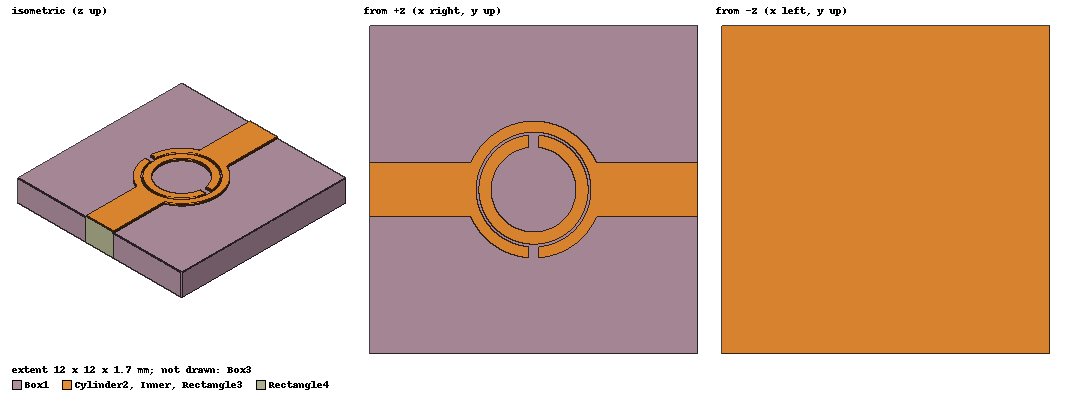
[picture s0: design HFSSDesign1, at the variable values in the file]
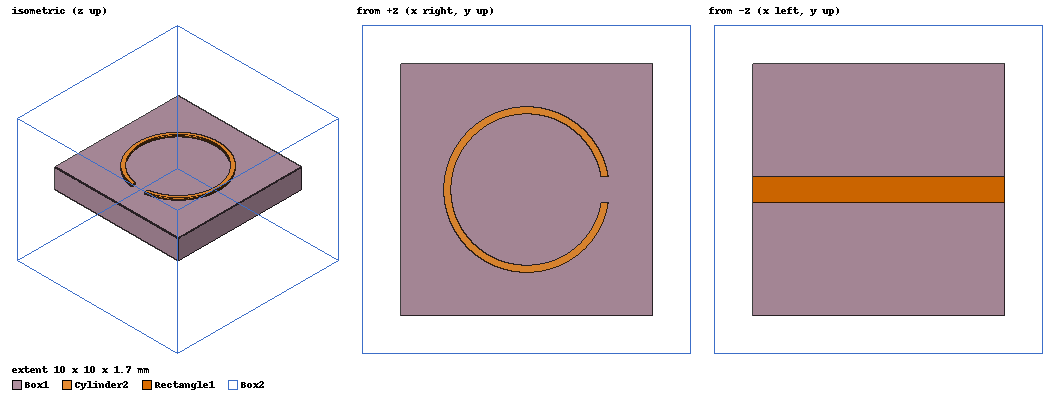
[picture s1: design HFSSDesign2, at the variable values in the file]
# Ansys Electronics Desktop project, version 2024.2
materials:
  vacuum: permittivity=1
  FR4_epoxy: permittivity=4.4 dielectric_loss_tangent=0.02
  copper: permeability=0.999991 conductivity=58000000
  air: permittivity=1.0006 permeability=1.0000004

design HFSSDesign1 (HFSS, HFSS Terminal Network, model units mm)
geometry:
  Box1 [FR4_epoxy] = box(corner=(0mm, 0mm, 0mm), size=(12mm, 12mm, 1.6mm))
  Cylinder1 = cylinder(axis=Z, base_centre=(6mm, 6mm, 1.6mm), radius=2.1mm, height=0.1mm)
  Cylinder2 [copper] = cylinder(axis=Z, base_centre=(6mm, 6mm, 1.6mm), radius=2.5mm, height=0.1mm)
  Slit = box(corner=(5.8mm, 1.5mm, 1.6mm), size=(0.4mm, 4mm, 0.1mm))
  Box2 = box(corner=(0mm, 5mm, 1.6mm), size=(12mm, 2mm, 0.1mm))
  Box3 [air] = box(corner=(-1mm, -1mm, -5mm), size=(15mm, 15mm, 9.5mm))
  Rectangle3 = rectangle(corner=(0mm, 0mm, 0mm), x_size=12mm, y_size=12mm)
  Cylinder2.subtract(Cylinder1)
  Box4 = box(corner=(3.9mm, 7mm, 1.6mm), size=(4.2mm, -2mm, 0.2mm))
  Cylinder2.subtract(Slit)
  Rectangle4 = rectangle(corner=(12mm, 5mm, 1.7mm), y_size=2mm, z_size=-1.7mm)
  Rectangle5 = rectangle(corner=(0mm, 7mm, 1.7mm), y_size=-2mm, z_size=-1.7mm)
  Box2.subtract(Box4)
  Cylinder2.unite(Box2)
  Inner [copper] = cylinder(axis=Z, base_centre=(6mm, 6mm, 1.6mm), radius=2mm, height=0.1mm)
  Cylinder3 = cylinder(axis=Z, base_centre=(6mm, 6mm, 1.6mm), radius=1.55mm, height=0.1mm)
  Inner.subtract(Cylinder3)
  Box5 = box(corner=(5.8mm, 8mm, 1.6mm), size=(0.4mm, -1.5mm, 0.1mm))
  Inner.subtract(Box5)
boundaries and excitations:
  PerfE5: Perfect E Objects=Rectangle3
  Rad1: Radiation Objects=Box3
  PerfE6: Perfect E Objects=Cylinder2
  PerfE7: Perfect E Objects=Inner
  1: Lumped Port Objects=Rectangle4 LumpedPortType=Modal Modes{Mode1{IntLine{(12, 6, 0) -> (12, 6, 1.7)} CharImp=Zpi}} Impedance=50ohm
  2: Lumped Port Objects=Rectangle5 LumpedPortType=Modal Modes{Mode1{IntLine{(0, 6.2, 0) -> (0, 6.2, 1.6)} CharImp=Zpi}} Impedance=50ohm
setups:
  Setup1: HfssDriven Frequency=5GHz MaxDeltaS=0.02 MaximumPasses=10 MinimumPasses=1 MinimumConvergedPasses=1 PercentRefinement=30 BasisOrder=1 PortAccuracy=2 DrivenSolverType="Direct Solver"
    sweep Sweep: 1GHz to 10GHz, 401 points; Type=Fast SaveFields
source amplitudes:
  1:1: 1V 0deg
  2:1: 0V 0deg
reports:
  S Parameter Plot 1: dB(S(1,1)), dB(S(2,1)) vs Freq on Setup1 : Sweep; markers m1 at 4.96GHz, m4 at 4.96GHz
  Z Parameter Plot 1: dB20(Z(1,1)), dB20(Z(2,1)) vs Freq on Setup1 : Sweep; markers m1 at 7.3675GHz

design HFSSDesign2 (HFSS, HFSS Terminal Network, model units mm)
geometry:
  Box1 [FR4_epoxy] = box(corner=(0mm, 0mm, 0mm), size=(10mm, 10mm, 1.6mm))
  Cylinder2 [copper] = cylinder(axis=Z, base_centre=(5mm, 5mm, 1.6mm), radius=3.281mm, height=0.1mm)
  Slit = box(corner=(7.5mm, 4.5mm, 1.6mm), size=(2mm, 1mm, 0.1mm))
  Cylinder2.subtract(Slit)
  Cylinder1 = cylinder(axis=Z, base_centre=(5mm, 5mm, 1.6mm), radius=3mm, height=0.1mm)
  Rectangle1 = rectangle(corner=(0mm, 4.5mm, 0mm), x_size=10mm, y_size=1mm)
  Cylinder2.subtract(Cylinder1)
  Box2 [vacuum] = box(corner=(-1.5mm, -1.5mm, -5mm), size=(13mm, 13mm, 10mm))
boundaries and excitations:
  PerfE1: Perfect E Objects=Cylinder2
  PerfE8: Perfect E Faces=Box2.face(-y)
  PerfE9: Perfect E Faces=Box2.face(+y)
  PerfH3: Perfect H Faces=Box2.face(+z)
  PerfH4: Perfect H Faces=Box2.face(-z)
  PerfE11: Perfect E Objects=Rectangle1
  5: Wave Port Faces=Box2.face(+x) WavePortType=Modal NumModes=1 Modes{Mode1{IntLine{(11.5, -1.5, 0) -> (11.5, 11.5, -0.5)} CharImp=Zpi}}
  6: Wave Port Faces=Box2.face(-x) WavePortType=Modal NumModes=1 Modes{Mode1{IntLine{(-1.5, -1.5, 0) -> (-1.5, 11.5, 0)} CharImp=Zpi}}
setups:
  Setup1: HfssDriven Frequency=5GHz MaxDeltaS=0.02 MaximumPasses=10 MinimumPasses=1 MinimumConvergedPasses=1 PercentRefinement=30 BasisOrder=1 PortAccuracy=2 DrivenSolverType="Direct Solver"
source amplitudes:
  5:1: 1V 0deg
  6:1: 0V 0deg
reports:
  S Parameter Plot 1: dB(S(5,5)) vs Freq on Setup1 : LastAdaptive
